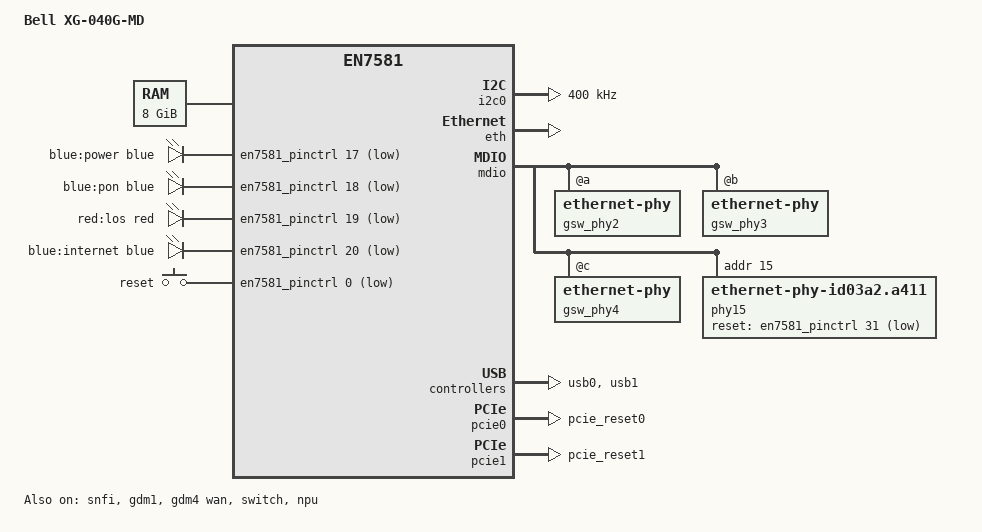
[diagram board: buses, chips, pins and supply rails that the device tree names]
// SPDX-License-Identifier: (GPL-2.0-only OR BSD-2-Clause)
/dts-v1/;

#include <dt-bindings/leds/common.h>
#include <dt-bindings/gpio/gpio.h>
#include <dt-bindings/input/input.h>
#include "an7581.dtsi"

/ {
	model = "Bell XG-040G-MD";
	compatible = "bell,xg-040g-md", "airoha,en7581";

	efuse-banks {
		compatible = "airoha,an7581-efuses";
		#address-cells = <0x01>;
		#size-cells = <0x00>;

		bank@0 {
			reg = <0x00>;
		};

		bank@1 {
			reg = <0x01>;
		};
	};

	aliases {
		serial0 = &uart1;
		led-boot = &pwr_led;
		led-failsafe = &pwr_led;
		led-running = &pwr_led;
		led-upgrade = &pwr_led;
	};

	chosen {
		bootargs = "console=ttyS0,115200n8 loglevel=3 quiet earlycon";
		stdout-path = "serial0:115200n8";
		bootargs-append = " ubi.mtd=rootfs,2048 rootfstype=squashfs ubi.block=0,rootfs ro init=/etc/preinit irqaffinity=0,1,2,3 nohz=off rcu_nocbs=0-3 isolcpus=3 skew_tick=1";
	};

	memory@80000000 {
		device_type = "memory";
		reg = <0x0 0x80000000 0x2 0x00000000>;
	};

	leds {
		compatible = "gpio-leds";

		pwr_led: led-0 {
			label = "blue:power";
			color = <LED_COLOR_ID_BLUE>;
			function = LED_FUNCTION_POWER;
			gpios = <&en7581_pinctrl 17 GPIO_ACTIVE_LOW>;
		};

		pon_led: led-1 {
			label = "blue:pon";
			color = <LED_COLOR_ID_BLUE>;
			function = LED_FUNCTION_STATUS;
			gpios = <&en7581_pinctrl 18 GPIO_ACTIVE_LOW>;
		};

		los_led: led-2 {
			label = "red:los";
			color = <LED_COLOR_ID_RED>;
			function = LED_FUNCTION_FAULT;
			gpios = <&en7581_pinctrl 19 GPIO_ACTIVE_LOW>;
		};

		internet_led: led-3 {
			label = "blue:internet";
			color = <LED_COLOR_ID_BLUE>;
			function = LED_FUNCTION_WAN;
			gpios = <&en7581_pinctrl 20 GPIO_ACTIVE_LOW>;
		};
	};

	buttons {
		compatible = "gpio-keys";

		reset {
			label = "reset";
			gpios = <&en7581_pinctrl 0 GPIO_ACTIVE_LOW>;
			linux,input-type = <EV_KEY>;
			linux,code = <KEY_RESTART>;
			debounce-interval = <60>;
		};
	};
};

&en7581_pinctrl {
	gpio-ranges = <&en7581_pinctrl 0 13 47>;

	mdio_pins: mdio-pins {
		mux {
			function = "mdio";
			groups = "mdio";
		};

		conf {
			pins = "gpio2";
			output-high;
			drive-strength = <8>;
		};
	};

	pcie0_rst_pins: pcie0-rst-pins {
		conf {
			pins = "pcie_reset0";
			drive-open-drain = <1>;
		};
	};

	pcie1_rst_pins: pcie1-rst-pins {
		conf {
			pins = "pcie_reset1";
			drive-open-drain = <1>;
		};
	};

	gswp1_led0_pins: gswp1-led0-pins {
		mux {
			function = "phy1_led0";
			pins = "gpio33";
		};
	};

	gswp2_led0_pins: gswp2-led0-pins {
		mux {
			function = "phy2_led0";
			pins = "gpio34";
		};
	};

	gswp3_led0_pins: gswp3-led0-pins {
		mux {
			function = "phy3_led0";
			pins = "gpio35";
		};
	};

	gswp4_led0_pins: gswp4-led0-pins {
		mux {
			function = "phy4_led0";
			pins = "gpio42";
		};
	};

	pwm_gpio18_idx10_pins: pwm-gpio18-idx10-pins {
		function = "pwm";
		pins = "gpio18";
		output-enable;
	};
};

&snfi {
	status = "okay";
	spi-max-frequency = <104000000>;
};


&spi_nand {
	#address-cells = <1>;
	#size-cells = <1>;
	spi-tx-bus-width = <4>;
	spi-rx-bus-width = <4>;

	partitions {
		compatible = "fixed-partitions";
		#address-cells = <1>;
		#size-cells = <1>;

			partition@0 {
				label = "bootloader";
				reg = <0x0  0x00080000>;
				read-only;
			};

			partition@80000  {
				label = "env";
				reg = <0x00080000 0x00080000>;
			};

			partition@100000 {
				label = "ubi";
				reg = <0x00100000  0x00>;
			};
	};
};

&i2c0 {
	status = "okay";
	clock-frequency = <400000>;
};

&eth {
	status = "okay";
	mediatek,eth-offload = "checksum", "tso", "lro";
};

&gdm1 {
	status = "okay";
	max-frame-size = <9000>;
};

&gdm4 {
	status = "okay";
	phy-handle = <&phy15>;
	phy-mode = "2500base-x";
	label = "wan";
	max-frame-size = <9000>;
	tx-queues = <8>;
	rx-queues = <8>;
};

&switch {
	status = "okay";
	pinctrl-names = "default";
	pinctrl-0 = <&mdio_pins>;

	ports {
		gsw_port2: port@2 {
			status = "okay";
			label = "lan2";
			pause;
		};

		gsw_port3: port@3 {
			status = "okay";
			label = "lan3";
			pause;
		};

		gsw_port4: port@4 {
			status = "okay";
			label = "lan4";
			pause;
		};
	};

	mdio {
		gsw_phy2: ethernet-phy@a {
			status = "okay";
			pinctrl-names = "gbe-led";
			pinctrl-0 = <&gswp2_led0_pins>;
			eee-broken-1000t;

			leds {
				led@0 {
					status = "okay";
					active-low;
					function = LED_FUNCTION_LAN;
					color = <LED_COLOR_ID_BLUE>;
				};
			};
		};

		gsw_phy3: ethernet-phy@b {
			status = "okay";
			pinctrl-names = "gbe-led";
			pinctrl-0 = <&gswp3_led0_pins>;
			eee-broken-1000t;

			leds {
				led@0 {
					status = "okay";
					active-low;
					function = LED_FUNCTION_LAN;
					color = <LED_COLOR_ID_BLUE>;
				};
			};
		};

		gsw_phy4: ethernet-phy@c {
			status = "okay";
			pinctrl-names = "gbe-led";
			pinctrl-0 = <&gswp4_led0_pins>;
			eee-broken-1000t;

			leds {
				led@0 {
					status = "okay";
					active-low;
					function = LED_FUNCTION_LAN;
					color = <LED_COLOR_ID_BLUE>;
				};
			};
		};

		phy15: ethernet-phy@f {
			/* Airoha EN8811H */
			compatible = "ethernet-phy-id03a2.a411", "ethernet-phy-ieee802.3-c22";
			reg = <15>;

			reset-gpios = <&en7581_pinctrl 31 GPIO_ACTIVE_LOW>;
			reset-assert-us = <10000>;
			reset-deassert-us = <2000000>;
			max-speed = <2500>;

			leds {
				#address-cells = <1>;
				#size-cells = <0>;

				led@0 {
					reg = <0>;
					function = LED_FUNCTION_WAN;
					color = <LED_COLOR_ID_BLUE>;
				};
			};
		};
	};
};

&usb0 {
	status = "okay";
	usb3-lpm-capable;
	maximum-speed = "super-speed";
};

&usb1 {
	status = "okay";
	usb3-lpm-capable;
	maximum-speed = "super-speed";
};

&npu {
	status = "okay";
};

&pcie0 {
	status = "okay";
	pinctrl-names = "default";
	pinctrl-0 = <&pcie0_rst_pins>;
};

&pcie1 {
	status = "okay";
	pinctrl-names = "default";
	pinctrl-0 = <&pcie1_rst_pins>;
};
